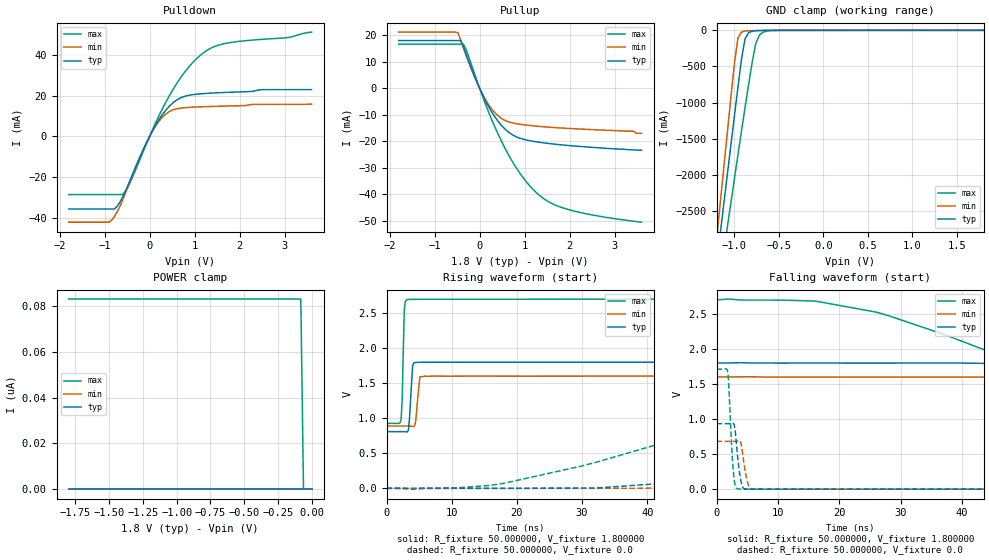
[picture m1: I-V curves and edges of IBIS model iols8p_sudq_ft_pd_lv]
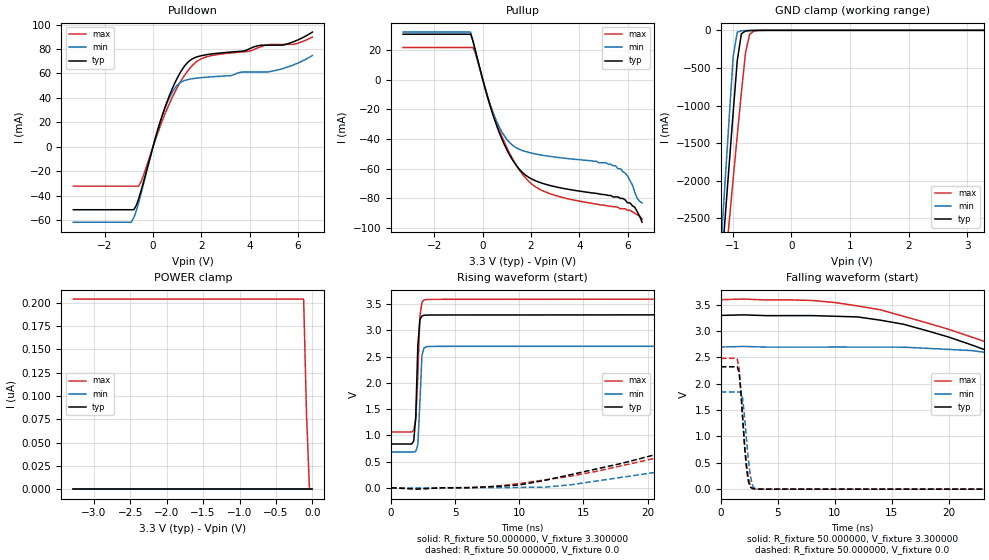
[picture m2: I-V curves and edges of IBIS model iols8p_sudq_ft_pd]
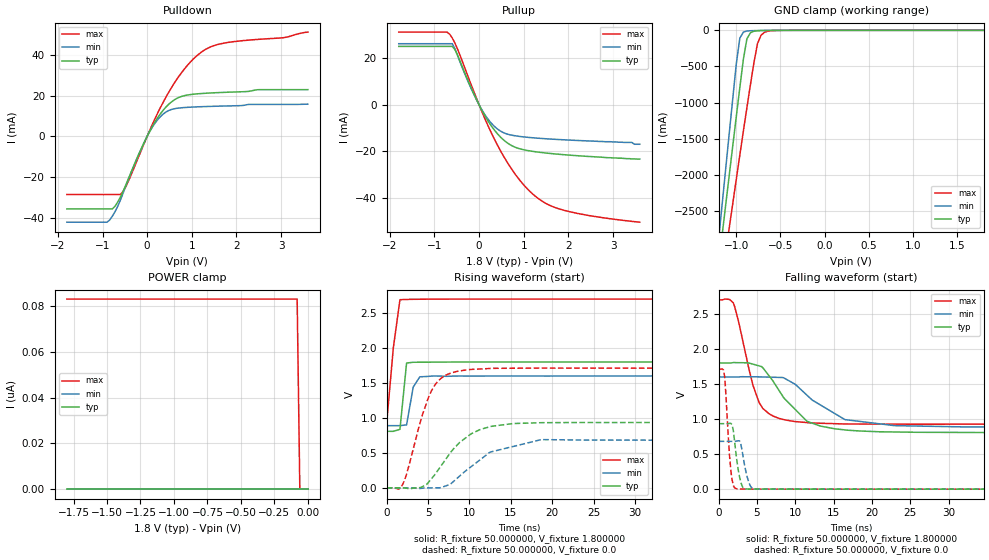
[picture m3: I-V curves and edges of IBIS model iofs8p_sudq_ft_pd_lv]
| IBIS file stm32c0_453_ufqfpn32.ibs
| Created by s2ibis version 1.1 (customized version)
| North Carolina State University, ERL, 2006
[IBIS ver] 4.2
[File name] stm32c0_453_ufqfpn32.ibs
[File Rev] rev1.2
[Date]  2023-01-06
[Source] Data Created at STMicroelectronics
[Notes]  File originated from ELDO simulations.
[Disclaimer]  This information is for modeling purpose only and is
   not guaranted. The information is subject to change without
   notice.
[Copyright] Copyright 2013 STMicroelectronics Inc.
|   Component stm32c0_453_ufqfpn32
[Component] stm32c0_453_ufqfpn32
[Manufacturer] STMicroelectronics
[Package]
| variable   typ   min   max
R_pkg  0  NA  NA
L_pkg  0  NA  NA
C_pkg  0  NA  NA
[Pin]   signal_name   model_name
0  VSS  gnd
1  PB9  io8prog2m25m50m120m_sudq_i2c_ft
2  PC14  io8prog2m25m50m120m_sudq_i2c_ft
3  PC15  io8prog2m25m50m120m_sudq_ft
4  VDD  power
5  VSS  gnd
6  PF2  ioreset_ft_v33
7  PA0  io8prog2m25m50m120m_sudq_ft
8  PA1  io8prog2m25m50m120m_sudq_ft
9  PA2  io8prog2m25m50m120m_sudq_ft
10  PA3  io8prog2m25m50m120m_sudq_ft
11  PA4  io8prog2m25m50m120m_sudq_ft
12  PA5  io8prog2m25m50m120m_sudq_ft
13  PA6  io8prog2m25m50m120m_sudq_ft
14  PA7  io8prog2m25m50m120m_sudq_ft
15  PB0  io8prog2m25m50m120m_sudq_ft
16  PB1  io8prog2m25m50m120m_sudq_ft
17  PB2  io8prog2m25m50m120m_sudq_ft
18  PA8  io8prog2m25m50m120m_sudq_ft
19  PA9  io8prog2m25m50m120m_sudq_i2c_ft
20  PC6  io8prog2m25m50m120m_sudq_ft
21  PA10  io8prog2m25m50m120m_sudq_i2c_ft
22  PA11  io8prog2m25m50m120m_sudq_i2c_ft
23  PA12  io8prog2m25m50m120m_sudq_i2c_ft
24  PA13  io8prog2m25m50m120m_sudq_ft
25  PA14  io8prog2m25m50m120m_sudq_ft
26  PA15  io8prog2m25m50m120m_sudq_ft
27  PB3  io8prog2m25m50m120m_sudq_ft
28  PB4  io8prog2m25m50m120m_sudq_ft
29  PB5  io8prog2m25m50m120m_sudq_i2c_ft
30  PB6  io8prog2m25m50m120m_sudq_i2c_ft
31  PB7  io8prog2m25m50m120m_sudq_i2c_ft
32  PB8  io8prog2m25m50m120m_sudq_i2c_ft
[Package Model]   453-ufqfpn-5x5-32l-220520
[Pin Mapping]   pulldown_ref   pullup_ref   | Comment
0  gndio  nc
1  gndio  vddiom
2  gndio  vddiom
3  gndio  vddiom
4  nc  vddiom
5  gndio  nc
6  gndio  vddiom
7  gndio  vddiom
8  gndio  vddiom
9  gndio  vddiom
10  gndio  vddiom
11  gndio  vddiom
12  gndio  vddiom
13  gndio  vddiom
14  gndio  vddiom
15  gndio  vddiom
16  gndio  vddiom
17  gndio  vddiom
18  gndio  vddiom
19  gndio  vddiom
20  gndio  vddiom
21  gndio  vddiom
22  gndio  vddiom
23  gndio  vddiom
24  gndio  vddiom
25  gndio  vddiom
26  gndio  vddiom
27  gndio  vddiom
28  gndio  vddiom
29  gndio  vddiom
30  gndio  vddiom
31  gndio  vddiom
32  gndio  vddiom
[Model Selector] io8prog2m25m50m120m_sudq_ft
iols8p_sudq_ft_pd_lv  "IO low speed, PD=40kOhm - 1P8V"
iols8p_sudq_ft_pu_lv  "IO low speed, PU=40kOhm - 1P8V"
iols8p_sudq_ft_lv  "IO low speed - 1P8V"
iols8p_sudq_ft_pd  "IO low speed, PD=40kOhm - 3P3V"
iols8p_sudq_ft_pu  "IO low speed, PU=40kOhm - 3P3V"
iols8p_sudq_ft  "IO low speed - 3P3V"
iofs8p_sudq_ft_pd_lv  "IO full speed, PD=40kOhm - 1P8V"
iofs8p_sudq_ft_pu_lv  "IO full speed, PU=40kOhm - 1P8V"
iofs8p_sudq_ft_lv  "IO full speed - 1P8V"
iofs8p_sudq_ft_pd  "IO full speed, PD=40kOhm - 3P3V"
iofs8p_sudq_ft_pu  "IO full speed, PU=40kOhm - 3P3V"
iofs8p_sudq_ft  "IO full speed - 3P3V"
ioms8p_sudq_ft_pd_lv  "IO medium speed, PD=40kOhm - 1P8V"
ioms8p_sudq_ft_pu_lv  "IO medium speed, PU=40kOhm - 1P8V"
ioms8p_sudq_ft_lv  "IO medium speed - 1P8V"
ioms8p_sudq_ft_pd  "IO medium speed, PD=40kOhm - 3P3V"
ioms8p_sudq_ft_pu  "IO medium speed, PU=40kOhm - 3P3V"
ioms8p_sudq_ft  "IO medium speed - 3P3V"
iohs8p_sudq_ft_pd_lv  "IO high speed, PD=40kOhm - 1P8V"
iohs8p_sudq_ft_pu_lv  "IO high speed, PU=40kOhm - 1P8V"
iohs8p_sudq_ft_lv  "IO high speed - 1P8V"
iohs8p_sudq_ft_pd  "IO high speed, PD=40kOhm - 3P3V"
iohs8p_sudq_ft_pu  "IO high speed, PU=40kOhm - 3P3V"
iohs8p_sudq_ft  "IO high speed - 3P3V"
[Model Selector] io8prog2m25m50m120m_sudq_i2c_ft
io8prog_1v8_i2c_pd  "5V Tol GPIO 1.8V range i2c functionality with pull down"
io8prog_1v8_i2c_pu  "5V Tol GPIO 1.8V range i2c functionality with pull up"
io8prog_1v8_i2c  "5V Tol GPIO 1.8V range i2c functionality"
io8prog_3v3_i2c_pd  "5V Tol GPIO 3.3V range i2c functionality with pull down"
io8prog_3v3_i2c_pu  "5V Tol GPIO 3.3V range i2c functionality with pull up"
io8prog_3v3_i2c  "5V Tol GPIO 3.3V range i2c functionality"
iols8p_sudq_ft_pd_lv  "IO low speed, PD=40kOhm - 1P8V"
iols8p_sudq_ft_pu_lv  "IO low speed, PU=40kOhm - 1P8V"
iols8p_sudq_ft_lv  "IO low speed - 1P8V"
iols8p_sudq_ft_pd  "IO low speed, PD=40kOhm - 3P3V"
iols8p_sudq_ft_pu  "IO low speed, PU=40kOhm - 3P3V"
iols8p_sudq_ft  "IO low speed - 3P3V"
iofs8p_sudq_ft_pd_lv  "IO full speed, PD=40kOhm - 1P8V"
iofs8p_sudq_ft_pu_lv  "IO full speed, PU=40kOhm - 1P8V"
iofs8p_sudq_ft_lv  "IO full speed - 1P8V"
iofs8p_sudq_ft_pd  "IO full speed, PD=40kOhm - 3P3V"
iofs8p_sudq_ft_pu  "IO full speed, PU=40kOhm - 3P3V"
iofs8p_sudq_ft  "IO full speed - 3P3V"
ioms8p_sudq_ft_pd_lv  "IO medium speed, PD=40kOhm - 1P8V"
ioms8p_sudq_ft_pu_lv  "IO medium speed, PU=40kOhm - 1P8V"
ioms8p_sudq_ft_lv  "IO medium speed - 1P8V"
ioms8p_sudq_ft_pd  "IO medium speed, PD=40kOhm - 3P3V"
ioms8p_sudq_ft_pu  "IO medium speed, PU=40kOhm - 3P3V"
ioms8p_sudq_ft  "IO medium speed - 3P3V"
iohs8p_sudq_ft_pd_lv  "IO high speed, PD=40kOhm - 1P8V"
iohs8p_sudq_ft_pu_lv  "IO high speed, PU=40kOhm - 1P8V"
iohs8p_sudq_ft_lv  "IO high speed - 1P8V"
iohs8p_sudq_ft_pd  "IO high speed, PD=40kOhm - 3P3V"
iohs8p_sudq_ft_pu  "IO high speed, PU=40kOhm - 3P3V"
iohs8p_sudq_ft  "IO high speed - 3P3V"
[Model Selector] ioreset_ft_v33
ioreset_1v2_pu  "RESET 1.2V range with PU"
ioreset_1v2  "RESET 1.2V range"
ioreset_1v8_pu  "RESET 1.8V range with PU"
ioreset_1v8  "RESET 1.8V range"
ioreset_3v3_pu  "RESET 3.3V range with PU"
ioreset_3v3  "RESET 3.3V range"
[Define Package Model]  453-ufqfpn-5x5-32l-220520
[Manufacturer]  Unknown
[OEM]  Unknown
[Description]  None
[Number Of Pins]  32
[Pin Numbers]
| Pin Num   Terminal Name
7 | PA0
21 | PA10
22 | PA11
23 | PA12
24 | PA13
25 | PA14
26 | PA15
8 | PA1
9 | PA2
10 | PA3
11 | PA4
12 | PA5
13 | PA6
14 | PA7
18 | PA8
19 | PA9
15 | PB0
16 | PB1
17 | PB2
27 | PB3
28 | PB4
29 | PB5
30 | PB6
31 | PB7
32 | PB8
1 | PB9
2 | PC14
3 | PC15
20 | PC6
6 | PF2
4 | VDD
0 | VSS
|[Merged Pins]  0
|5  |  VSS
[Model Data]
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[End Model Data]
[End Package Model]
| Models and submodels in the file (36): iols8p_sudq_ft_pd_lv (I/O), iols8p_sudq_ft_pu_lv (I/O), iols8p_sudq_ft_lv (I/O), iols8p_sudq_ft_pd (I/O), iols8p_sudq_ft_pu (I/O), iols8p_sudq_ft (I/O), iofs8p_sudq_ft_pd_lv (I/O), iofs8p_sudq_ft_pu_lv (I/O), iofs8p_sudq_ft_lv (I/O), iofs8p_sudq_ft_pd (I/O), iofs8p_sudq_ft_pu (I/O), iofs8p_sudq_ft (I/O), ioms8p_sudq_ft_pd_lv (I/O), ioms8p_sudq_ft_pu_lv (I/O), ioms8p_sudq_ft_lv (I/O), ioms8p_sudq_ft_pd (I/O), ioms8p_sudq_ft_pu (I/O), ioms8p_sudq_ft (I/O), iohs8p_sudq_ft_pd_lv (I/O), iohs8p_sudq_ft_pu_lv (I/O), iohs8p_sudq_ft_lv (I/O), iohs8p_sudq_ft_pd (I/O), iohs8p_sudq_ft_pu (I/O), iohs8p_sudq_ft (I/O), io8prog_1v8_i2c_pd (I/O_open_drain), io8prog_1v8_i2c_pu (I/O_open_drain), io8prog_1v8_i2c (I/O_open_drain), io8prog_3v3_i2c_pd (I/O_open_drain), io8prog_3v3_i2c_pu (I/O_open_drain), io8prog_3v3_i2c (I/O_open_drain), ioreset_1v2_pu (I/O_open_drain), ioreset_1v2 (I/O_open_drain), ioreset_1v8_pu (I/O_open_drain), ioreset_1v8 (I/O_open_drain), ioreset_3v3_pu (I/O_open_drain), ioreset_3v3 (I/O_open_drain)
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|   Model iols8p_sudq_ft_pd_lv
[Model]  iols8p_sudq_ft_pd_lv
Model_type I/O
Polarity   Non-Inverting
Enable   Active-Low
Vinl =   0.540000V
Vinh =   1.260000V
Vmeas =  0.900000V
Cref =   50.000000pF
Rref =   100.000000M
Vref =   0.0V
C_comp   1.984800pF   1.899400pF   2.077500pF
[Temperature Range]   25.000000   -40.000000   0.125000k
[Pullup Reference]   1.800000V   1.600000V   2.700000V
[Pulldown Reference]   0.0V   0.0V   0.0V
[POWER Clamp Reference]   1.800000V   1.600000V   2.700000V
[GND Clamp Reference]   0.0V   0.0V   0.0V
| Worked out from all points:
|   slope of the pulldown table from 0 to 0.27 V, typ, clamps not added: 26.4 ohm
|   slope of the pullup table from 0 to 0.27 V, typ, clamps not added: 30.1 ohm
|   GND clamp passes 1 mA (typ) near -0.60 V on its own axis
|   rising waveform, R_fixture 50.000000, V_fixture 1.800000: 20-80 % time 379ps typ, 423ps min, 266ps max; typ from 0.808 V to 1.8 V
|   rising waveform, R_fixture 50.000000, V_fixture 0.0: 20-80 % time 67.1ns typ, 74.3ns min, 45.1ns max; typ from 0 V to 0.933 V
|   falling waveform, R_fixture 50.000000, V_fixture 1.800000: 20-80 % time 73ns typ, 83ns min, 37.6ns max; typ from 1.8 V to 0.808 V
|   falling waveform, R_fixture 50.000000, V_fixture 0.0: 20-80 % time 692ps typ, 757ps min, 595ps max; typ from 0.933 V to 0 V
[Pulldown]
|Voltage   I(typ)   I(min)   I(max)
-1.8V     -35.64mA   -42.15mA   -28.59mA
-900mV    -35.64mA   -42.15mA   -28.59mA
-780mV    -35.64mA   -39.2mA    -28.59mA
-600mV    -29.83mA   -31.31mA   -28.52mA
-420mV    -20.8mA    -21.07mA   -21.98mA
60mV      2.604mA    2.459mA    3.062mA
240mV     9.303mA    8.31mA     11.61mA
480mV     15.67mA    12.64mA    21.52mA
720mV     19.18mA    13.91mA    29.74mA
960mV     20.46mA    14.3mA     36.27mA
1.44V     21.29mA    14.7mA     44.06mA
3.6V      22.91mA    15.79mA    51.15mA
[Pullup]
|Voltage   I(typ)   I(min)   I(max)
-1.8V     18.05mA    21.25mA    16.71mA
-540mV    18.05mA    21.25mA    16.71mA
-480mV    18.05mA    20.95mA    16.71mA
-420mV    18.05mA    18.11mA    16.71mA
-360mV    15.57mA    15.21mA    16.71mA
60mV      -2.268mA   -2.095mA   -2.822mA
360mV     -11.31mA   -9.605mA   -15.45mA
600mV     -15.96mA   -12.42mA   -23.82mA
840mV     -18.52mA   -13.44mA   -30.72mA
1.38V     -20.52mA   -14.47mA   -41.14mA
2.1V      -21.8mA    -15.27mA   -46.39mA
3.6V      -23.4mA    -17mA      -50.6mA
[GND_clamp]
|Voltage   I(typ)   I(min)   I(max)
-1.8V     -9.477A    -9.805A    -9.016A
-1.2V     -3.243A    -2.9A      -3.759A
-1.16V    -2.83A     -2.409A    -3.417A
-1.12V    -2.418A    -1.919A    -3.076A
-1.08V    -2.008A    -1.431A    -2.736A
-1V       -1.194A    -466mA     -2.061A
-960mV    -792.8mA   -108.7mA   -1.727A
-920mV    -402mA     -24.36mA   -1.396A
-880mV    -117.8mA   -9.2mA     -1.071A
-760mV    -5.909mA   -2.892mA   -183.8mA
-680mV    -2.407mA   -1.111mA   -26.63mA
1.8V      47.61uA    33.87uA    60.56uA
[POWER_clamp]
|Voltage   I(typ)   I(min)   I(max)
-1.8V     0A         0A         83.17nA
-80mV     0A         0A         83.17nA
-60mV     0A         0A         0A
0V        0A         0A         0A
[Ramp]
| variable   typ   min   max
dV/dt_r  0.56030/67.04771n   0.40892/74.21097n   1.02690/44.96516n
dV/dt_f  0.59467/72.90760n   0.42644/82.87002n   1.06358/37.57082n
R_load = 50.000000
[Rising Waveform]
R_fixture= 50.000000
V_fixture= 1.800000
V_fixture_min= 1.600000
V_fixture_max= 2.700000
|time   V(typ)   V(min)   V(max)
0s        807.9mV    888.7mV    926.1mV
2.242ns   808mV      888.7mV    991.1mV
2.402ns   807.9mV    888.7mV    1.267V
2.723ns   807.2mV    888.7mV    2.536V
3.203ns   805.4mV    888.8mV    2.691V
4.004ns   1.746V     882.7mV    2.695V
4.484ns   1.794V     959.1mV    2.695V
5.125ns   1.797V     1.592V     2.695V
5.766ns   1.798V     1.599V     2.695V
79.76ns   1.799V     1.599V     2.699V
[Rising Waveform]
R_fixture= 50.000000
V_fixture= 0.0
V_fixture_min= 0.0
V_fixture_max= 0.0
|time   V(typ)   V(min)   V(max)
0s        2.012nV    1.787nV    174.5nV
18.02ns   -344.8uV   -50.09uV   71.38mV
32.03ns   3.824mV    -26.62uV   368.3mV
62.06ns   204.9mV    72.66mV    1.126V
80.08ns   382mV      156.4mV    1.425V
98.1ns    559.2mV    285.8mV    1.568V
138.1ns   787.9mV    493.3mV    1.675V
174.2ns   872mV      629.9mV    1.696V
240.2ns   928mV      674mV      1.71V
997ns     933.5mV    681.5mV    1.711V
[Falling Waveform]
R_fixture= 50.000000
V_fixture= 1.800000
V_fixture_min= 1.600000
V_fixture_max= 2.700000
|time   V(typ)   V(min)   V(max)
0s        1.799V     1.599V     2.699V
16.02ns   1.798V     1.598V     2.682V
26.03ns   1.798V     1.598V     2.524V
64.06ns   1.735V     1.598V     1.385V
76.08ns   1.645V     1.598V     1.183V
118.1ns   1.274V     1.513V     993.2mV
162.2ns   968.9mV    1.273V     950.7mV
214.2ns   864.7mV    1.023V     933.3mV
300.3ns   821mV      917.9mV    926.2mV
997ns     807.9mV    888.7mV    926.1mV
[Falling Waveform]
R_fixture= 50.000000
V_fixture= 0.0
V_fixture_min= 0.0
V_fixture_max= 0.0
|time   V(typ)   V(min)   V(max)
0s        933.5mV    681.5mV    1.711V
1.762ns   933.5mV    681.5mV    1.701V
1.922ns   933.4mV    681.5mV    1.598V
2.723ns   939.8mV    681.4mV    260.7mV
3.043ns   837.1mV    681mV      50.52mV
3.524ns   395.1mV    687.2mV    3.387mV
4.324ns   18.45mV    464.2mV    311.9uV
5.125ns   915.5uV    79.36mV    150.2uV
5.766ns   240.1uV    2.922mV    125.4uV
79.76ns   2.012nV    1.787nV    174.5nV
|   Model iols8p_sudq_ft_pd
[Model]  iols8p_sudq_ft_pd
Model_type I/O
Polarity   Non-Inverting
Enable   Active-Low
Vinl =   0.990000V
Vinh =   2.310000V
Vmeas =  1.650000V
Cref =   50.000000pF
Rref =   100.000000M
Vref =   0.0V
C_comp   2.036400pF   1.984000pF   2.082300pF
[Temperature Range]   25.000000   -40.000000   0.125000k
[Pullup Reference]   3.300000V   2.700000V   3.600000V
[Pulldown Reference]   0.0V   0.0V   0.0V
[POWER Clamp Reference]   3.300000V   2.700000V   3.600000V
[GND Clamp Reference]   0.0V   0.0V   0.0V
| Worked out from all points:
|   slope of the pulldown table from 0 to 0.495 V, typ, clamps not added: 15.4 ohm
|   slope of the pullup table from 0 to 0.495 V, typ, clamps not added: 18.1 ohm
|   GND clamp passes 1 mA (typ) near -0.60 V on its own axis
|   rising waveform, R_fixture 50.000000, V_fixture 3.300000: 20-80 % time 204ps typ, 227ps min, 243ps max; typ from 0.835 V to 3.3 V
|   rising waveform, R_fixture 50.000000, V_fixture 0.0: 20-80 % time 24.4ns typ, 26.2ns min, 30.7ns max; typ from 0 V to 2.32 V
|   falling waveform, R_fixture 50.000000, V_fixture 3.300000: 20-80 % time 21.2ns typ, 25.4ns min, 24ns max; typ from 3.3 V to 0.835 V
|   falling waveform, R_fixture 50.000000, V_fixture 0.0: 20-80 % time 469ps typ, 493ps min, 522ps max; typ from 2.32 V to 0 V
[Pulldown]
|Voltage   I(typ)   I(min)   I(max)
-3.3V     -51.62mA   -61.83mA   -32.32mA
-900mV    -51.62mA   -61.83mA   -32.32mA
-800mV    -51.62mA   -58.24mA   -32.32mA
-500mV    -36.51mA   -38.71mA   -28.96mA
400mV     26.66mA    26.58mA    22.18mA
800mV     47.72mA    44.74mA    40.6mA
1.1V      59.79mA    52.18mA    51.93mA
1.5V      70.22mA    55.24mA    63.66mA
2.1V      74.97mA    56.75mA    72.88mA
4.9V      83.19mA    61.75mA    83.83mA
5.9V      86.64mA    67.67mA    84.15mA
6.6V      93.9mA     74.68mA    89.84mA
[Pullup]
|Voltage   I(typ)   I(min)   I(max)
-3.3V     30.51mA    31.92mA    21.54mA
-500mV    30.51mA    31.92mA    21.54mA
-300mV    19.24mA    18.93mA    17.46mA
500mV     -27.53mA   -25.31mA   -25.83mA
1V        -47.29mA   -40.29mA   -45.86mA
1.5V      -60.05mA   -46.83mA   -60.43mA
2V        -66.7mA    -49.43mA   -69.91mA
2.7V      -70.92mA   -51.53mA   -76.32mA
5.5V      -79mA      -58mA      -85.6mA
6V        -83mA      -65mA      -88mA
6.3V      -86mA      -76mA      -90mA
6.6V      -96mA      -83mA      -94mA
[GND_clamp]
|Voltage   I(typ)   I(min)   I(max)
-3.3V     -9.812A    -9.822A    -9.937A
-1.2V     -3.251A    -2.905A    -3.763A
-1.13V    -2.527A    -2.046A    -3.165A
-1.06V    -1.808A    -1.191A    -2.57A
-990mV    -1.097A    -352.7mA   -1.979A
-920mV    -404.2mA   -25.09mA   -1.398A
-850mV    -46.54mA   -6.516mA   -832.3mA
-780mV    -8.509mA   -3.59mA    -302.4mA
-710mV    -3.395mA   -1.728mA   -53.82mA
-640mV    -1.602mA   -565.6uA   -11.73mA
-360mV    -11.48uA   -7.86uA    -95.15uA
3.28V     87.11uA    57.76uA    110.6uA
[POWER_clamp]
|Voltage   I(typ)   I(min)   I(max)
-3.28V    0A         0A         204.1nA
-120mV    0A         0A         204.1nA
-80mV     0A         0A         79.47nA
-40mV     0A         0A         0A
0V        0A         0A         0A
[Ramp]
| variable   typ   min   max
dV/dt_r  1.39392/24.32512n   1.10664/26.02554n   1.48968/30.68457n
dV/dt_f  1.47853/21.12242n   1.20971/25.31352n   1.52064/23.80312n
R_load = 50.000000
[Rising Waveform]
R_fixture= 50.000000
V_fixture= 3.300000
V_fixture_min= 2.700000
V_fixture_max= 3.600000
|time   V(typ)   V(min)   V(max)
0s        834.7mV    683mV      1.064V
1.602ns   834.4mV    682.6mV    1.065V
1.762ns   890.2mV    681.2mV    1.091V
1.922ns   1.358V     691.7mV    1.293V
2.082ns   2.701V     821.7mV    2.121V
2.242ns   3.204V     1.613V     3.263V
2.402ns   3.274V     2.525V     3.537V
2.563ns   3.289V     2.664V     3.579V
2.723ns   3.292V     2.686V     3.588V
79.76ns   3.299V     2.699V     3.598V
[Rising Waveform]
R_fixture= 50.000000
V_fixture= 0.0
V_fixture_min= 0.0
V_fixture_max= 0.0
|time   V(typ)   V(min)   V(max)
0s        2.52nV     1.819nV    187.9nV
10.01ns   54.08mV    6.364mV    80.09mV
14.01ns   251mV      56.77mV    221.9mV
22.02ns   729.2mV    344.7mV    640.7mV
34.03ns   1.484V     929.4mV    1.304V
46.05ns   1.975V     1.399V     1.852V
54.05ns   2.117V     1.595V     2.09V
62.06ns   2.197V     1.7V       2.223V
100.1ns   2.301V     1.827V     2.435V
997ns     2.323V     1.844V     2.483V
[Falling Waveform]
R_fixture= 50.000000
V_fixture= 3.300000
V_fixture_min= 2.700000
V_fixture_max= 3.600000
|time   V(typ)   V(min)   V(max)
0s        3.299V     2.699V     3.598V
10.01ns   3.283V     2.698V     3.543V
16.02ns   3.132V     2.696V     3.283V
24.02ns   2.579V     2.572V     2.74V
38.04ns   1.559V     1.933V     1.812V
46.05ns   1.181V     1.508V     1.457V
60.06ns   976.5mV    964.6mV    1.241V
82.08ns   892.5mV    775.2mV    1.135V
220.2ns   834.9mV    682.5mV    1.065V
997ns     834.7mV    683mV      1.064V
[Falling Waveform]
R_fixture= 50.000000
V_fixture= 0.0
V_fixture_min= 0.0
V_fixture_max= 0.0
|time   V(typ)   V(min)   V(max)
0s        2.323V     1.844V     2.483V
1.441ns   2.327V     1.844V     2.469V
1.602ns   2.214V     1.847V     2.292V
1.762ns   1.842V     1.846V     1.876V
1.922ns   1.323V     1.714V     1.35V
2.242ns   418.5mV    976.9mV    495.4mV
2.402ns   163.5mV    592.8mV    240.7mV
2.723ns   16.02mV    107.4mV    30.17mV
3.043ns   2.769mV    10.45mV    4.778mV
79.76ns   2.52nV     1.819nV    187.9nV
|   Model iofs8p_sudq_ft_pd_lv
[Model]  iofs8p_sudq_ft_pd_lv
Model_type I/O
Polarity   Non-Inverting
Enable   Active-Low
Vinl =   0.540000V
Vinh =   1.260000V
Vmeas =  0.900000V
Cref =   40.000000pF
Rref =   100.000000M
Vref =   0.0V
C_comp   1.984800pF   1.899400pF   2.077500pF
[Temperature Range]   25.000000   -40.000000   0.125000k
[Pullup Reference]   1.800000V   1.600000V   2.700000V
[Pulldown Reference]   0.0V   0.0V   0.0V
[POWER Clamp Reference]   1.800000V   1.600000V   2.700000V
[GND Clamp Reference]   0.0V   0.0V   0.0V
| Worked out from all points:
|   slope of the pulldown table from 0 to 0.27 V, typ, clamps not added: 26.4 ohm
|   slope of the pullup table from 0 to 0.27 V, typ, clamps not added: 30.1 ohm
|   GND clamp passes 1 mA (typ) near -0.60 V on its own axis
|   rising waveform, R_fixture 50.000000, V_fixture 1.800000: 20-80 % time 503ps typ, 698ps min, 936ps max; typ from 0.808 V to 1.8 V
|   rising waveform, R_fixture 50.000000, V_fixture 0.0: 20-80 % time 4.11ns typ, 5.19ns min, 2.6ns max; typ from 0 V to 0.933 V
|   falling waveform, R_fixture 50.000000, V_fixture 1.800000: 20-80 % time 4.49ns typ, 5.51ns min, 2.44ns max; typ from 1.8 V to 0.808 V
|   falling waveform, R_fixture 50.000000, V_fixture 0.0: 20-80 % time 694ps typ, 759ps min, 595ps max; typ from 0.933 V to 0 V
[Pulldown]
|Voltage   I(typ)   I(min)   I(max)
-1.8V     -35.64mA   -42.15mA   -28.59mA
-900mV    -35.64mA   -42.15mA   -28.59mA
-780mV    -35.64mA   -39.2mA    -28.59mA
-600mV    -29.83mA   -31.31mA   -28.52mA
-420mV    -20.8mA    -21.07mA   -21.98mA
60mV      2.604mA    2.459mA    3.062mA
240mV     9.303mA    8.31mA     11.61mA
480mV     15.67mA    12.64mA    21.52mA
720mV     19.18mA    13.91mA    29.74mA
960mV     20.46mA    14.3mA     36.27mA
1.44V     21.29mA    14.7mA     44.06mA
3.6V      22.91mA    15.79mA    51.15mA
[Pullup]
|Voltage   I(typ)   I(min)   I(max)
-1.8V     25.2mA     26.34mA    31.36mA
-660mV    25.2mA     26.34mA    30.46mA
-600mV    25.2mA     26.34mA    28.77mA
-540mV    23.79mA    24.11mA    26.53mA
-60mV     2.392mA    2.26mA     2.893mA
300mV     -9.801mA   -8.48mA    -13.12mA
480mV     -13.91mA   -11.33mA   -19.82mA
720mV     -17.48mA   -13.04mA   -27.45mA
1.26V     -20.22mA   -14.3mA    -39.41mA
1.56V     -20.91mA   -14.71mA   -43.13mA
1.98V     -21.62mA   -15.16mA   -45.85mA
3.6V      -23.4mA    -17mA      -50.6mA
[GND_clamp]
|Voltage   I(typ)   I(min)   I(max)
-1.8V     -9.477A    -9.805A    -9.016A
-1.2V     -3.243A    -2.9A      -3.759A
-1.16V    -2.83A     -2.409A    -3.417A
-1.12V    -2.418A    -1.919A    -3.076A
-1.08V    -2.008A    -1.431A    -2.736A
-1V       -1.194A    -466mA     -2.061A
-960mV    -792.8mA   -108.7mA   -1.727A
-920mV    -402mA     -24.36mA   -1.396A
-880mV    -117.8mA   -9.2mA     -1.071A
-760mV    -5.909mA   -2.892mA   -183.8mA
-680mV    -2.407mA   -1.111mA   -26.63mA
1.8V      47.61uA    33.87uA    60.56uA
[POWER_clamp]
|Voltage   I(typ)   I(min)   I(max)
-1.8V     0A         0A         83.17nA
-80mV     0A         0A         83.17nA
-60mV     0A         0A         0A
0V        0A         0A         0A
[Ramp]
| variable   typ   min   max
dV/dt_r  0.56000/4.10362n   0.40942/5.21625n   1.02672/2.59589n
dV/dt_f  0.59504/4.48853n   0.42591/5.49286n   1.06363/2.43827n
R_load = 50.000000
[Rising Waveform]
R_fixture= 50.000000
V_fixture= 1.800000
V_fixture_min= 1.600000
V_fixture_max= 2.700000
|time   V(typ)   V(min)   V(max)
0s        807.9mV    888.7mV    926.4mV
800.8ps   807.7mV    888.7mV    2V
1.602ns   836.3mV    888.7mV    2.689V
2.402ns   1.784V     899.7mV    2.693V
3.203ns   1.795V     1.44V      2.695V
4.004ns   1.796V     1.587V     2.696V
5.606ns   1.797V     1.598V     2.697V
79.28ns   1.799V     1.599V     2.699V
[Rising Waveform]
R_fixture= 50.000000
V_fixture= 0.0
V_fixture_min= 0.0
V_fixture_max= 0.0
|time   V(typ)   V(min)   V(max)
0s        959.1nV    708.8nV    1.579uV
1.441ns   16.7uV     -615.4nV   -19.31mV
2.082ns   -221.7uV   116.1nV    88.07mV
4.324ns   17.15mV    -4.67mV    1.047V
5.766ns   180.7mV    -547uV     1.459V
6.887ns   367.1mV    16.93mV    1.592V
8.649ns   628.2mV    150.9mV    1.668V
12.49ns   874.2mV    510.3mV    1.706V
18.74ns   931.2mV    689.4mV    1.712V
79.76ns   933.5mV    681.5mV    1.711V
[Falling Waveform]
R_fixture= 50.000000
V_fixture= 1.800000
V_fixture_min= 1.600000
V_fixture_max= 2.700000
|time   V(typ)   V(min)   V(max)
0s        1.799V     1.599V     2.699V
1.922ns   1.805V     1.599V     2.655V
4.484ns   1.782V     1.602V     1.48V
5.285ns   1.757V     1.601V     1.235V
8.809ns   1.267V     1.568V     984.4mV
11.53ns   967.4mV    1.339V     948.9mV
13.29ns   899.2mV    1.2V       939.8mV
16.5ns    844.5mV    991.4mV    929.4mV
22.9ns    815.3mV    906.3mV    926.9mV
79.76ns   807.9mV    888.7mV    926.4mV
[Falling Waveform]
R_fixture= 50.000000
V_fixture= 0.0
V_fixture_min= 0.0
V_fixture_max= 0.0
|time   V(typ)   V(min)   V(max)
0s        933.5mV    681.5mV    1.711V
800.8ps   933.4mV    681.5mV    1.595V
1.602ns   937.9mV    681.4mV    260.3mV
1.922ns   833.4mV    681.1mV    51.84mV
2.402ns   393.2mV    686.5mV    4.86mV
2.883ns   106.8mV    648mV      2.297mV
3.203ns   18.04mV    463.2mV    1.884mV
4.004ns   2.003mV    80.11mV    1.241mV
4.645ns   1.405mV    3.507mV    933.5uV
79.76ns   959.1nV    708.8nV    1.579uV
